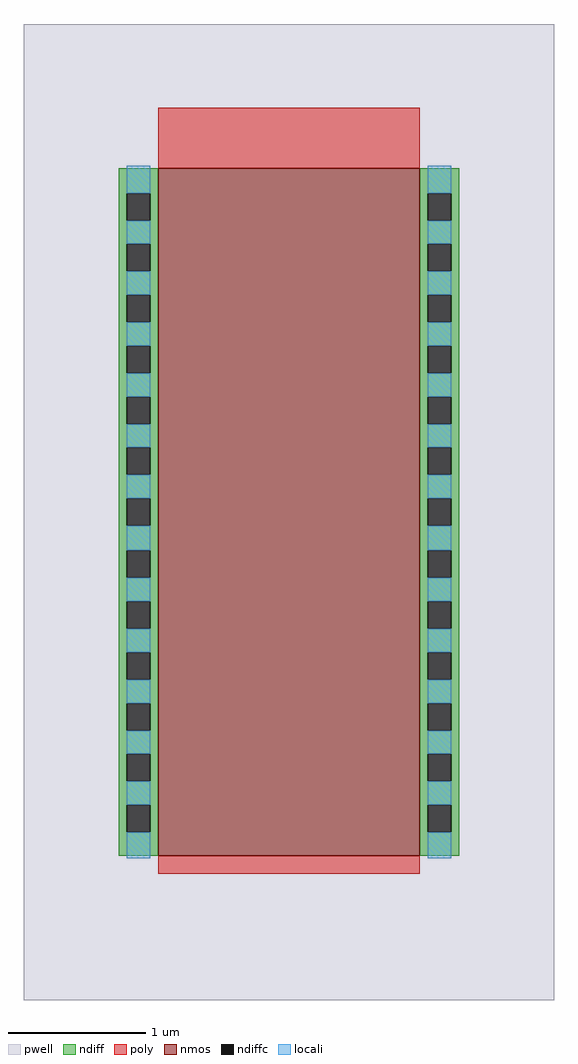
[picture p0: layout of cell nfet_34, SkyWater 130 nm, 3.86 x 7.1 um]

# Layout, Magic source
magic
tech sky130A
<< pwell >>
rect -98 -105 288 605
<< nmos >>
rect 0 0 190 500
<< ndiff >>
rect -29 482 0 500
rect -29 462 -23 482
rect -6 462 0 482
rect -29 445 0 462
rect -29 425 -23 445
rect -6 425 0 445
rect -29 408 0 425
rect -29 388 -23 408
rect -6 388 0 408
rect -29 371 0 388
rect -29 351 -23 371
rect -6 351 0 371
rect -29 334 0 351
rect -29 314 -23 334
rect -6 314 0 334
rect -29 297 0 314
rect -29 277 -23 297
rect -6 277 0 297
rect -29 260 0 277
rect -29 240 -23 260
rect -6 240 0 260
rect -29 222 0 240
rect -29 202 -23 222
rect -6 202 0 222
rect -29 185 0 202
rect -29 165 -23 185
rect -6 165 0 185
rect -29 148 0 165
rect -29 128 -23 148
rect -6 128 0 148
rect -29 111 0 128
rect -29 91 -23 111
rect -6 91 0 111
rect -29 74 0 91
rect -29 54 -23 74
rect -6 54 0 74
rect -29 37 0 54
rect -29 17 -23 37
rect -6 17 0 37
rect -29 0 0 17
rect 190 482 219 500
rect 190 462 196 482
rect 213 462 219 482
rect 190 445 219 462
rect 190 425 196 445
rect 213 425 219 445
rect 190 408 219 425
rect 190 388 196 408
rect 213 388 219 408
rect 190 371 219 388
rect 190 351 196 371
rect 213 351 219 371
rect 190 334 219 351
rect 190 314 196 334
rect 213 314 219 334
rect 190 297 219 314
rect 190 277 196 297
rect 213 277 219 297
rect 190 260 219 277
rect 190 240 196 260
rect 213 240 219 260
rect 190 222 219 240
rect 190 202 196 222
rect 213 202 219 222
rect 190 185 219 202
rect 190 165 196 185
rect 213 165 219 185
rect 190 148 219 165
rect 190 128 196 148
rect 213 128 219 148
rect 190 111 219 128
rect 190 91 196 111
rect 213 91 219 111
rect 190 74 219 91
rect 190 54 196 74
rect 213 54 219 74
rect 190 37 219 54
rect 190 17 196 37
rect 213 17 219 37
rect 190 0 219 17
<< ndiffc >>
rect -23 462 -6 482
rect -23 425 -6 445
rect -23 388 -6 408
rect -23 351 -6 371
rect -23 314 -6 334
rect -23 277 -6 297
rect -23 240 -6 260
rect -23 202 -6 222
rect -23 165 -6 185
rect -23 128 -6 148
rect -23 91 -6 111
rect -23 54 -6 74
rect -23 17 -6 37
rect 196 462 213 482
rect 196 425 213 445
rect 196 388 213 408
rect 196 351 213 371
rect 196 314 213 334
rect 196 277 213 297
rect 196 240 213 260
rect 196 202 213 222
rect 196 165 213 185
rect 196 128 213 148
rect 196 91 213 111
rect 196 54 213 74
rect 196 17 213 37
<< poly >>
rect 0 500 190 544
rect 0 -13 190 0
<< locali >>
rect -23 482 -6 502
rect -23 445 -6 462
rect -23 408 -6 425
rect -23 371 -6 388
rect -23 334 -6 351
rect -23 297 -6 314
rect -23 260 -6 277
rect -23 222 -6 240
rect -23 185 -6 202
rect -23 148 -6 165
rect -23 111 -6 128
rect -23 74 -6 91
rect -23 37 -6 54
rect -23 -2 -6 17
rect 196 482 213 502
rect 196 445 213 462
rect 196 408 213 425
rect 196 371 213 388
rect 196 334 213 351
rect 196 297 213 314
rect 196 260 213 277
rect 196 222 213 240
rect 196 185 213 202
rect 196 148 213 165
rect 196 111 213 128
rect 196 74 213 91
rect 196 37 213 54
rect 196 -2 213 17
<< end >>
